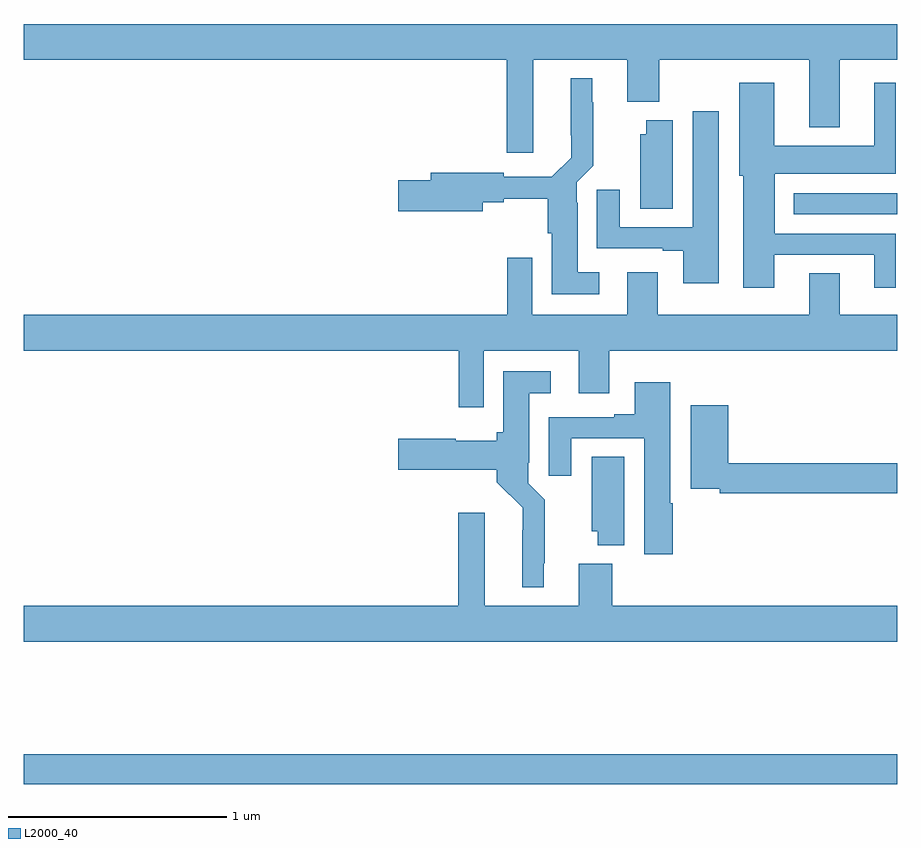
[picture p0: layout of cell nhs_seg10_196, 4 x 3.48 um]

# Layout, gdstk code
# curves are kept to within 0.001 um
import gdstk
lib = gdstk.Library(unit=1e-6, precision=1e-09)
def R(c, l, rs):  # rectangles x0, y0, x1, y1
    for r in rs: c.add(gdstk.rectangle(r[:2], r[2:], *l))
def P(c, l, *ps):  # polygons
    for p in ps: c.add(gdstk.Polygon(p, *l))
L2000_40 = (2000, 40)

nhs_seg10_196 = lib.new_cell('nhs_seg10_196')
R(nhs_seg10_196, L2000_40, [(119,1320.976,123,1321.112), (122.525,1323.585,123,1323.681)])
P(nhs_seg10_196, L2000_40, [(121.333,1324.292),(121.763,1324.292),(121.763,1324.1),(121.911,1324.1),(121.911,1324.292),(122.597,1324.292),(122.597,1323.983),(122.737,1323.983),(122.737,1324.292),(123,1324.292),(123,1324.456),(119,1324.456),(119,1324.292),(121.211,1324.292),(121.211,1323.867),(121.333,1323.867)],
  [(121.636,1323.319),(121.537,1323.319),(121.537,1323.638),(121.533,1323.638),(121.533,1323.732),(121.607,1323.806),(121.607,1324.097),(121.603,1324.097),(121.603,1324.207),(121.505,1324.207),(121.506,1323.844),(121.418,1323.756),(121.198,1323.756),(121.198,1323.776),(120.863,1323.776),(120.863,1323.74),(120.714,1323.74),(120.714,1323.598),(121.102,1323.598),(121.102,1323.64),(121.198,1323.64),(121.198,1323.655),(121.4,1323.655),(121.4,1323.498),(121.418,1323.498),(121.418,1323.218),(121.636,1323.218)],
  [(122.437,1323.399),(122.894,1323.399),(122.894,1323.249),(122.992,1323.249),(122.992,1323.495),(122.44,1323.495),(122.44,1323.77),(122.992,1323.77),(122.992,1324.186),(122.894,1324.186),(122.894,1323.898),(122.437,1323.898),(122.437,1324.186),(122.276,1324.186),(122.276,1323.762),(122.294,1323.762),(122.294,1323.249),(122.437,1323.249)],
  [(122.182,1324.057),(122.063,1324.057),(122.063,1323.525),(121.729,1323.525),(121.729,1323.697),(121.625,1323.697),(121.625,1323.429),(121.925,1323.429),(121.925,1323.417),(122.021,1323.417),(122.021,1323.27),(122.182,1323.27)],
  [(121.972,1324.015),(121.85,1324.015),(121.85,1323.951),(121.823,1323.951),(121.823,1323.61),(121.972,1323.61)],
  [(121.107,1322.96),(121.541,1322.96),(121.541,1322.766),(121.681,1322.766),(121.681,1322.96),(123,1322.96),(123,1323.124),(122.737,1323.124),(122.737,1323.314),(122.597,1323.314),(122.597,1323.124),(121.903,1323.124),(121.903,1323.319),(121.763,1323.319),(121.763,1323.124),(121.329,1323.124),(121.329,1323.385),(121.213,1323.385),(121.213,1323.124),(119,1323.124),(119,1322.96),(120.991,1322.96),(120.991,1322.7),(121.107,1322.7)],
  [(121.381,1321.987),(121.385,1321.987),(121.385,1322.278),(121.311,1322.352),(121.311,1322.446),(121.315,1322.446),(121.315,1322.765),(121.414,1322.765),(121.414,1322.866),(121.196,1322.866),(121.196,1322.586),(121.166,1322.586),(121.166,1322.548),(120.978,1322.548),(120.978,1322.556),(120.714,1322.556),(120.714,1322.414),(121.166,1322.414),(121.166,1322.358),(121.284,1322.24),(121.283,1321.877),(121.381,1321.877)],
  [(121.973,1322.261),(121.96,1322.261),(121.96,1322.815),(121.799,1322.815),(121.799,1322.668),(121.703,1322.668),(121.703,1322.655),(121.403,1322.655),(121.403,1322.388),(121.507,1322.388),(121.507,1322.559),(121.841,1322.559),(121.841,1322.028),(121.973,1322.028)],
  [(123,1322.444),(122.225,1322.444),(122.225,1322.71),(122.054,1322.71),(122.054,1322.328),(122.188,1322.328),(122.188,1322.308),(123,1322.308)],
  [(121.75,1322.474),(121.601,1322.474),(121.601,1322.133),(121.628,1322.133),(121.628,1322.069),(121.75,1322.069)],
  [(123,1321.792),(121.694,1321.792),(121.694,1321.984),(121.541,1321.984),(121.541,1321.792),(121.111,1321.792),(121.111,1322.218),(120.989,1322.218),(120.989,1321.792),(119,1321.792),(119,1321.628),(123,1321.628)])

lib.write_gds('nhs_seg10_196.gds')
